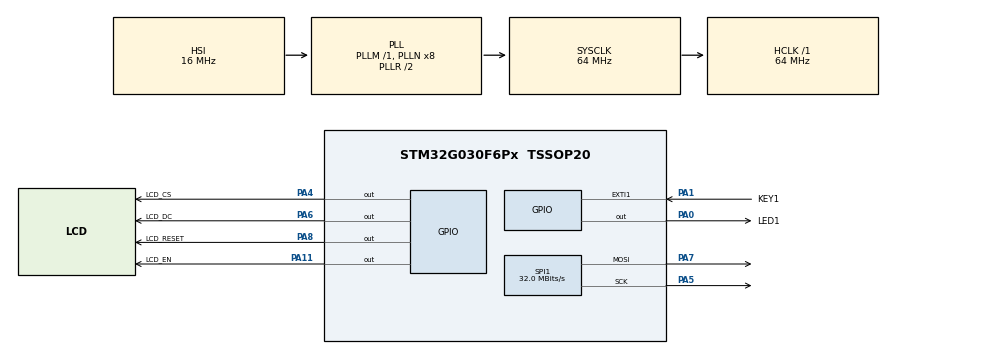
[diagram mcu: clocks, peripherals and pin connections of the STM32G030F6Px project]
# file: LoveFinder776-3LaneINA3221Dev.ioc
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ADC1.Channel-0\#ChannelRegularConversion=ADC_CHANNEL_TEMPSENSOR
ADC1.ContinuousConvMode=ENABLE
ADC1.NbrOfConversion=1
ADC1.NbrOfConversionFlag=1
ADC1.Rank-0\#ChannelRegularConversion=1
ADC1.SamplingTime-0\#ChannelRegularConversion=ADC_SAMPLINGTIME_COMMON_1
ADC1.SamplingTimeCommon1=ADC_SAMPLETIME_12CYCLES_5
ADC1.SamplingTimeCommon2=ADC_SAMPLETIME_12CYCLES_5
ADC1.SelectedChannel=ADC_CHANNEL_TEMPSENSOR
ADC1.master=1
Dma.Request0=SPI1_TX
Dma.SPI1_TX.0.Direction=DMA_MEMORY_TO_PERIPH
Dma.SPI1_TX.0.EventEnable=DISABLE
Dma.SPI1_TX.0.Instance=DMA1_Channel1
Dma.SPI1_TX.0.MemDataAlignment=DMA_MDATAALIGN_BYTE
Dma.SPI1_TX.0.MemInc=DMA_MINC_ENABLE
Dma.SPI1_TX.0.Mode=DMA_NORMAL
Dma.SPI1_TX.0.PeriphDataAlignment=DMA_PDATAALIGN_BYTE
Dma.SPI1_TX.0.PeriphInc=DMA_PINC_DISABLE
Dma.SPI1_TX.0.Polarity=HAL_DMAMUX_REQ_GEN_RISING
Dma.SPI1_TX.0.Priority=DMA_PRIORITY_MEDIUM
Dma.SPI1_TX.0.RequestNumber=1
Dma.SPI1_TX.0.SignalID=NONE
Dma.SPI1_TX.0.SyncEnable=DISABLE
Dma.SPI1_TX.0.SyncPolarity=HAL_DMAMUX_SYNC_NO_EVENT
Dma.SPI1_TX.0.SyncRequestNumber=1
Dma.SPI1_TX.0.SyncSignalID=NONE
Mcu.Family=STM32G0
Mcu.Name=STM32G030F6Px
Mcu.Package=TSSOP20
NVIC.ADC1_IRQn=true\:0\:0\:false\:false\:true\:true\:true\:true
NVIC.DMA1_Channel1_IRQn=true\:0\:0\:false\:false\:true\:false\:true\:true
NVIC.EXTI0_1_IRQn=true\:0\:0\:false\:false\:true\:true\:true\:true
NVIC.TIM17_IRQn=true\:0\:0\:false\:false\:true\:true\:true\:true
PA0.GPIO_Label=LED1
PA0.GPIO_Speed=GPIO_SPEED_FREQ_HIGH
PA0.Signal=GPIO_Output
PA1.GPIO_Label=KEY1
PA1.GPIO_ModeDefaultEXTI=GPIO_MODE_IT_FALLING
PA1.Signal=GPXTI1
PA11\ [PA9].GPIO_Label=LCD_EN
PA11\ [PA9].GPIO_Speed=GPIO_SPEED_FREQ_HIGH
PA11\ [PA9].Signal=GPIO_Output
PA13.Mode=Serial_Wire
PA13.Signal=SYS_SWDIO
PA14-BOOT0.Mode=Serial_Wire
PA14-BOOT0.Signal=SYS_SWCLK
PA14-BOOT0__PA15.StandardMode=true
PA4.GPIO_Label=LCD_CS
PA4.GPIO_Speed=GPIO_SPEED_FREQ_HIGH
PA4.Signal=GPIO_Output
PA5.GPIO_Speed=GPIO_SPEED_FREQ_HIGH
PA5.Mode=TX_Only_Simplex_Unidirect_Master
PA5.Signal=SPI1_SCK
PA6.GPIO_Label=LCD_DC
PA6.GPIO_Speed=GPIO_SPEED_FREQ_HIGH
PA6.Signal=GPIO_Output
PA7.GPIO_Speed=GPIO_SPEED_FREQ_HIGH
PA7.Mode=TX_Only_Simplex_Unidirect_Master
PA7.Signal=SPI1_MOSI
PA8.GPIO_Label=LCD_RESET
PA8.GPIO_Speed=GPIO_SPEED_FREQ_HIGH
PA8.Signal=GPIO_Output
PB0__PB1__PB2__PA8.StandardMode=true
PB3__PB4__PB5__PB6.StandardMode=true
PB7__PB8.StandardMode=true
PC14-OSC32_IN\ (PC14)__PB9.StandardMode=true
ProjectManager.HeapSize=0x200
ProjectManager.StackSize=0x400
ProjectManager.TargetToolchain=MDK-ARM V5.32
RCC.ADCFreq_Value=64000000
RCC.AHBFreq_Value=64000000
RCC.CortexFreq_Value=64000000
RCC.EXTERNAL_CLOCK_VALUE=12288000
RCC.HCLKFreq_Value=64000000
RCC.HSE_VALUE=8000000
RCC.HSI_VALUE=16000000
RCC.LSE_VALUE=32768
RCC.SYSCLKFreq_VALUE=64000000
RCC.SYSCLKSource=RCC_SYSCLKSOURCE_PLLCLK
RCC.VCOOutputFreq_Value=128000000
SPI1.CalculateBaudRate=32.0 MBits/s
SPI1.Direction=SPI_DIRECTION_2LINES
SPI1.Mode=SPI_MODE_MASTER
SPI1.VirtualType=VM_MASTER
TIM17.AutoReloadPreload=TIM_AUTORELOAD_PRELOAD_ENABLE
TIM17.Period=1
TIM17.Prescaler=63999
VP_ADC1_TempSens_Input.Mode=IN-TempSens
VP_TIM17_VS_ClockSourceINT.Mode=Enable_Timer
board=custom

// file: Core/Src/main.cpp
/* USER CODE BEGIN Header */
/**
  ******************************************************************************
  * @file           : main.cpp
  * @brief          : Main program body (C++17)
  ******************************************************************************
  * @attention
  *
  * Copyright (c) 2026 STMicroelectronics.
  * All rights reserved.
  *
  * This software is licensed under terms that can be found in the LICENSE file
  * in the root directory of this software component.
  * If no LICENSE file comes with this software, it is provided AS-IS.
  *
  ******************************************************************************
  */
/* USER CODE END Header */

#include "main.h"
#include "adc.h"
#include "dma.h"
#include "spi.h"
#include "gpio.h"

/* USER CODE BEGIN Includes */
#include "../../LoveFinderLib/ST7735/st7735.hpp"
#include "../../LoveFinderLib/BUTTON/BUTTON.hpp"
#include "tim.h"
#include <cstdio>
#include <cstdint>

/* USER CODE END Includes */

/* USER CODE BEGIN PV */

// BUTTON instance (PA1, EXTI falling edge)
BUTTON keyBtn;

// Button statistics
struct ButtonStats {
    uint16_t click;
    uint16_t doubleClick;
    uint16_t longPress;
};
static ButtonStats stats = {0, 0, 0};

/* USER CODE END PV */

void SystemClock_Config(void);
extern "C" void HAL_GPIO_EXTI_Callback(uint16_t GPIO_Pin);

int main(void)
{

  /* MCU Configuration--------------------------------------------------------*/

  /* Reset of all peripherals, Initializes the Flash interface and the Systick. */
  HAL_Init();

  /* Configure the system clock */
  SystemClock_Config();

  /* Initialize all configured peripherals */
  MX_GPIO_Init();
  MX_DMA_Init();
  MX_SPI1_Init();
  MX_ADC1_Init();
  MX_TIM17_Init();
  /* USER CODE BEGIN 2 */

  // 启动定时器（1ms周期，用于长按检测）
  HAL_TIM_Base_Start_IT(&htim17);

  // 设置定时器用于按钮长按检测
  v_BUTTON_SetTimer(&htim17);

  // Enable LCD backlight
  HAL_GPIO_WritePin(LCD_EN_GPIO_Port, LCD_EN_Pin, GPIO_PIN_SET);

  // Initialize LCD
  ST7735_Init();

  // Clear screen to black
  ST7735_FillScreen(ST7735_BLACK);

  // Initialize button (PA1, active low - pressed = low)
  BUTTON_Config btnConfig = BUTTON_Config::getDefault();
  btnConfig.activeLow = true;  // Button pressed = low level
  keyBtn.init(KEY1_GPIO_Port, KEY1_Pin, btnConfig);

  // Initial display
  ST7735_WriteString(10, 10, "Button Test", Font_7x10, ST7735_GREEN, ST7735_BLACK);
  ST7735_WriteString(10, 25, "Click:", Font_7x10, ST7735_WHITE, ST7735_BLACK);
  ST7735_WriteString(10, 38, "Double:", Font_7x10, ST7735_WHITE, ST7735_BLACK);
  ST7735_WriteString(10, 51, "Long:", Font_7x10, ST7735_WHITE, ST7735_BLACK);

  /* USER CODE END 2 */

  /* Infinite loop */
  while (1)
  {

    /* USER CODE BEGIN 3 */
    // Update button state (polling mode)
    e_BUTTON_Event event = keyBtn.update();

    // Handle button events
    if (event != e_BUTTON_Event::NONE)
    {
        char buf[20];

        switch (event)
        {
            case e_BUTTON_Event::CLICK:
                stats.click++;
                ST7735_WriteString(60, 25, "        ", Font_7x10, ST7735_YELLOW, ST7735_BLACK);
                snprintf(buf, sizeof(buf), "%d", stats.click);
                ST7735_WriteString(60, 25, buf, Font_7x10, ST7735_YELLOW, ST7735_BLACK);
                break;

            case e_BUTTON_Event::DOUBLE_CLICK:
                stats.doubleClick++;
                ST7735_WriteString(70, 38, "        ", Font_7x10, ST7735_CYAN, ST7735_BLACK);
                snprintf(buf, sizeof(buf), "%d", stats.doubleClick);
                ST7735_WriteString(70, 38, buf, Font_7x10, ST7735_CYAN, ST7735_BLACK);
                break;

            case e_BUTTON_Event::LONG_PRESS:
                stats.longPress++;
                ST7735_WriteString(55, 51, "        ", Font_7x10, ST7735_MAGENTA, ST7735_BLACK);
                snprintf(buf, sizeof(buf), "%d", stats.longPress);
                ST7735_WriteString(55, 51, buf, Font_7x10, ST7735_MAGENTA, ST7735_BLACK);
                break;

            default:
                break;
        }
    }
  }
  /* USER CODE END 3 */
}

void SystemClock_Config(void)
{
  RCC_OscInitTypeDef RCC_OscInitStruct = {0};
  RCC_ClkInitTypeDef RCC_ClkInitStruct = {0};

  /** Configure the main internal regulator output voltage
  */
  HAL_PWREx_ControlVoltageScaling(PWR_REGULATOR_VOLTAGE_SCALE1);

  /** Initializes the RCC Oscillators according to the specified parameters
  * in the RCC_OscInitTypeDef structure.
  */
  RCC_OscInitStruct.OscillatorType = RCC_OSCILLATORTYPE_HSI;
  RCC_OscInitStruct.HSIState = RCC_HSI_ON;
  RCC_OscInitStruct.HSIDiv = RCC_HSI_DIV1;
  RCC_OscInitStruct.HSICalibrationValue = RCC_HSICALIBRATION_DEFAULT;
  RCC_OscInitStruct.PLL.PLLState = RCC_PLL_ON;
  RCC_OscInitStruct.PLL.PLLSource = RCC_PLLSOURCE_HSI;
  RCC_OscInitStruct.PLL.PLLM = RCC_PLLM_DIV1;
  RCC_OscInitStruct.PLL.PLLN = 8;
  RCC_OscInitStruct.PLL.PLLP = RCC_PLLP_DIV2;
  RCC_OscInitStruct.PLL.PLLR = RCC_PLLR_DIV2;
  if (HAL_RCC_OscConfig(&RCC_OscInitStruct) != HAL_OK)
  {
    Error_Handler();
  }

  /** Initializes the CPU, AHB and APB buses clocks
  */
  RCC_ClkInitStruct.ClockType = RCC_CLOCKTYPE_HCLK|RCC_CLOCKTYPE_SYSCLK
                              |RCC_CLOCKTYPE_PCLK1;
  RCC_ClkInitStruct.SYSCLKSource = RCC_SYSCLKSOURCE_PLLCLK;
  RCC_ClkInitStruct.AHBCLKDivider = RCC_SYSCLK_DIV1;
  RCC_ClkInitStruct.APB1CLKDivider = RCC_HCLK_DIV1;

  if (HAL_RCC_ClockConfig(&RCC_ClkInitStruct, FLASH_LATENCY_2) != HAL_OK)
  {
    Error_Handler();
  }
}

/* USER CODE BEGIN 4 */

/**
 * @brief GPIO EXTI Callback - not used in polling mode
 */
extern "C" void HAL_GPIO_EXTI_Callback(uint16_t GPIO_Pin)
{
    // 按键检测使用轮询模式，此回调留空
    (void)GPIO_Pin;
}

/* USER CODE END 4 */

void Error_Handler(void)
{
  __disable_irq();
  while (1)
  {
  }
}
